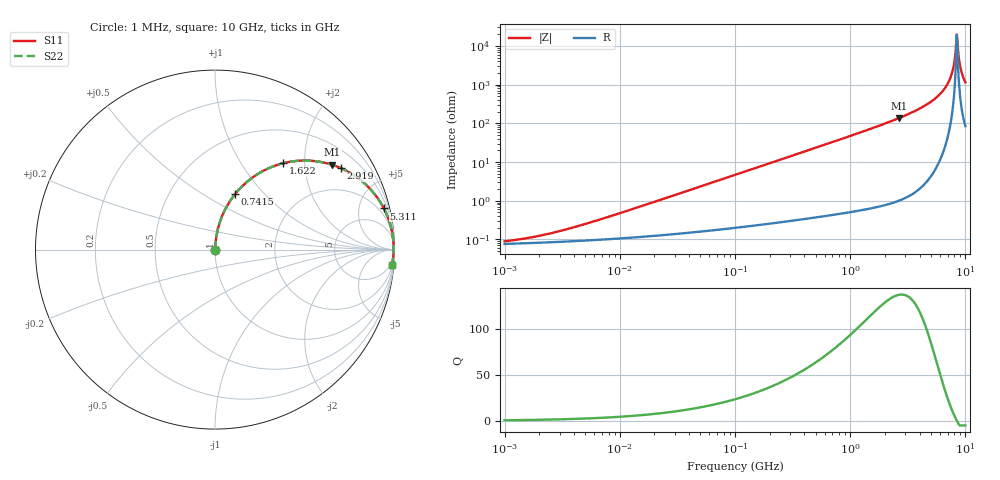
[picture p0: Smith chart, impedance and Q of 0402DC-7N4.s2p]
# MHz  S  MA  R  50
!Freq  MagS11  AngS11  MagS21  AngS21  MagS12  AngS12  MagS22  AngS22
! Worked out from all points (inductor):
!   801 points, 1 MHz to 10 GHz, reference 50 ohm
!   read as one part in series: L = 7.4 nH near 6.31 MHz
!   highest Q = 137 at 2.662 GHz (marker M1), where L = 8.22 nH
!   self-resonance near 8.418 GHz
!   S11 on the Smith chart (normalised r, x): 1 MHz: 1.00, +0.00; 741.5 MHz: 1.01, +0.69; 1.622 GHz: 1.01, +1.57; 2.919 GHz: 1.02, +3.08; 5.311 GHz: 1.11, +8.18; 10 GHz: 3, -23
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1  0.0008954 31.2  0.9992 -0.0  0.9992 -0.0  0.0008954 31.2
2.06545  0.001265 49.3  0.9992 -0.1  0.9992 -0.1  0.001265 49.3
4.67769  0.002361 66.9  0.9991 -0.1  0.9991 -0.1  0.002361 66.9
21.6303  0.01012 82.3  0.9987 -0.6  0.9987 -0.6  0.01012 82.3
100.0216  0.04641 84.9  0.9969 -2.7  0.9969 -2.7  0.04641 84.9
467.8699  0.2125 76.8  0.9737 -12.3  0.9737 -12.3  0.2125 76.8
741.5398  0.327 70.2  0.9409 -19.1  0.9409 -19.1  0.327 70.2
1622.372  0.6141 51.6  0.784 -37.9  0.784 -37.9  0.6141 51.6
2163.497  0.73 42.7  0.6779 -46.9  0.6779 -46.9  0.73 42.7
2661.709  0.8058 35.9  0.5863 -53.7  0.5863 -53.7  0.8058 35.9
2918.518  0.8361 32.8  0.5424 -56.7  0.5424 -56.7  0.8361 32.8
4075.39  0.9242 22.0  0.374 -67.5  0.374 -67.5  0.9242 22.0
5310.979  0.9684 13.7  0.2368 -75.5  0.2368 -75.5  0.9684 13.7
6312.161  0.9855 8.5  0.1479 -80.1  0.1479 -80.1  0.9855 8.5
7164.414  0.9926 4.8  0.08323 -82.5  0.08323 -82.5  0.9926 4.8
7676.832  0.9945 2.8  0.04817 -82.1  0.04817 -82.1  0.9945 2.8
8131.735  0.9952 1.1  0.01931 -75.0  0.01931 -75.0  0.9952 1.1
8417.515  0.9951 0.1  0.005032 -14.0  0.005032 -14.0  0.9951 0.1
8713.339  0.9947 -0.9  0.01708 71.6  0.01708 71.6  0.9947 -0.9
9019.56  0.994 -1.9  0.03423 79.0  0.03423 79.0  0.994 -1.9
9336.542  0.993 -2.9  0.05162 80.7  0.05162 80.7  0.993 -2.9
10000  0.9899 -4.9  0.08633 80.8  0.08633 80.8  0.9899 -4.9
